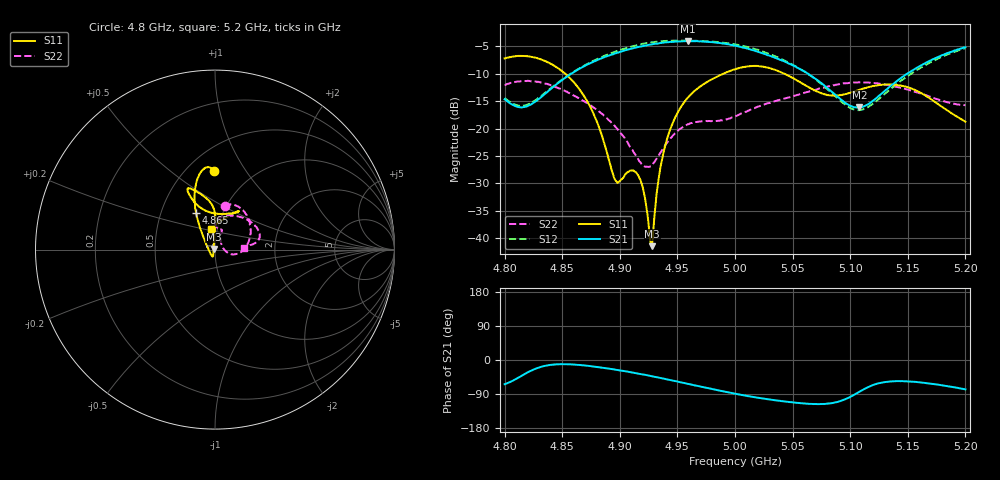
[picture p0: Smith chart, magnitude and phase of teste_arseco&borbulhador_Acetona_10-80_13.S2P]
! Network Analyzer HP8722D
! Hewlett-Packard
! Data name: Linha & Wilkinson
! Saver's name: Rodrigo Anjos
! Comments: Teste da utilização de aquisição
! continua pelo VNA HP8722D
! Time and date: 25/4/2025 15:22
!  Frequency  S11  S21  S12  S22
# HZ  S  MA R 50
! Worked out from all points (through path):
!   401 points, 4.8 GHz to 5.2 GHz, reference 50 ohm
!   highest |S21| = -4.00 dB at 4.959 GHz (marker M1); lowest = -16.1 dB at 5.108 GHz (marker M2)
!   lowest |S11| = -41.5 dB at 4.928 GHz (marker M3), VSWR 1.02, Z = 49.2 + j0.304 ohm
!   |S11| at or under -10 dB: 4.853 GHz to 4.99 GHz (136.9 MHz wide, 2.78 % of centre); 5.043 GHz to end of sweep
!   |S22| runs from -27.0 to -11.3 dB; largest |S21 - S12| = 1.2
!   S11 on the Smith chart (normalised r, x): 4.8 GHz: 0.67, +0.73; 4.865 GHz: 0.75, +0.32; 5.2 GHz: 0.93, +0.22
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4.8e9  0.4373 90.9  0.1851 -64.0  0.1904 69.5  0.2491 77.5
4.82e9  0.4565 97.2  0.1607 -32.5  0.1659 98.1  0.2732 61.7
4.844e9  0.3694 107.0  0.2485 -11.7  0.2515 119.0  0.2388 35.8
4.865e9  0.2285 117.3  0.352 -13.1  0.3557 120.8  0.1885 11.5
4.867e9  0.2129 118.5  0.3609 -13.8  0.3647 120.6  0.183 9.1
4.88e9  0.1163 128.4  0.4203 -18.4  0.4299 118.2  0.1482 -4.5
4.896e9  0.03395 -173.8  0.4863 -25.6  0.5045 113.2  0.1049 -14.8
4.91e9  0.04145 -110.9  0.5367 -32.5  0.5612 106.9  0.06599 -11.9
4.917e9  0.03542 -107.3  0.5596 -36.5  0.5859 103.6  0.05023 1.4
4.922e9  0.02287 -113.4  0.5717 -39.1  0.5993 100.8  0.04474 18.0
4.926e9  0.00999 -146.1  0.5833 -41.8  0.6086 98.3  0.04502 33.9
4.928e9  0.008445 158.6  0.5874 -42.9  0.6137 97.0  0.04699 41.1
4.934e9  0.03649 100.1  0.6001 -46.6  0.6259 93.4  0.05704 56.8
4.944e9  0.09993 90.9  0.6189 -53.1  0.6329 86.9  0.08162 67.9
4.959e9  0.1912 89.7  0.6311 -63.0  0.6377 77.3  0.1094 70.0
5e9  0.3484 109.0  0.5722 -89.0  0.5891 50.8  0.1295 87.5
5.029e9  0.3597 115.0  0.4668 -103.6  0.4836 34.1  0.1706 85.4
5.067e9  0.2299 105.5  0.2998 -115.9  0.2973 23.5  0.222 57.0
5.108e9  0.2262 64.1  0.1559 -83.7  0.1474 59.4  0.2643 23.7
5.134e9  0.2532 58.0  0.2391 -56.8  0.2248 88.6  0.2485 12.4
5.168e9  0.1922 70.3  0.4112 -61.8  0.3937 85.2  0.1975 7.3
5.2e9  0.1157 100.7  0.5528 -77.5  0.5406 70.1  0.1636 3.7
